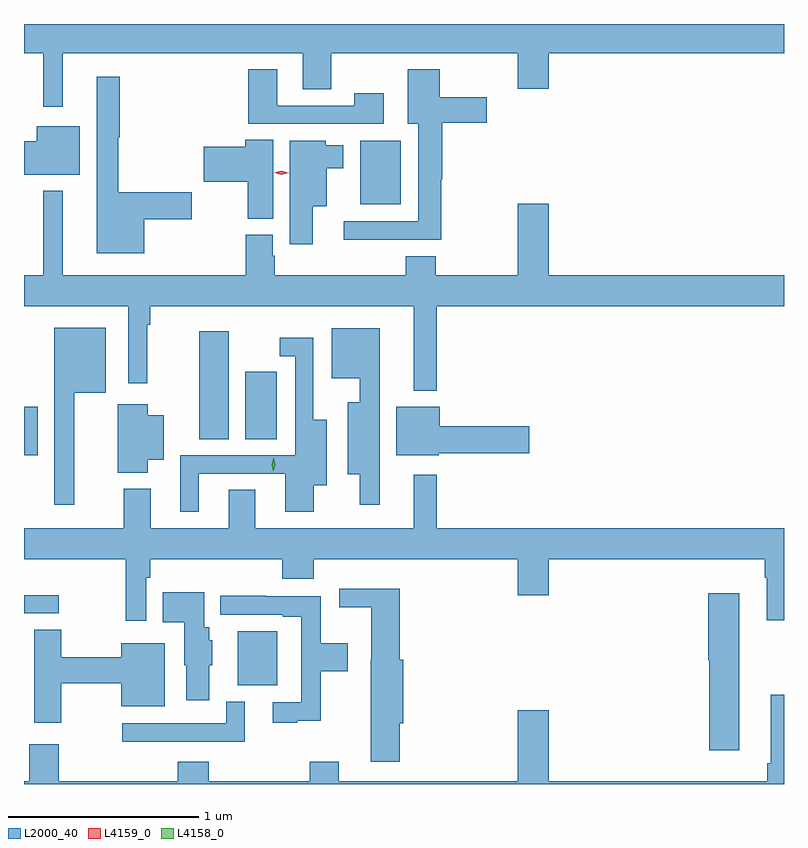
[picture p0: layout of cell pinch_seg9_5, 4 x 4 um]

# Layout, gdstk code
import gdstk
lib = gdstk.Library(unit=1e-6, precision=1e-09)
def R(c, l, rs):  # rectangles x0, y0, x1, y1
    for r in rs: c.add(gdstk.rectangle(r[:2], r[2:], *l))
def P(c, l, *ps):  # polygons
    for p in ps: c.add(gdstk.Polygon(p, *l))
L2000_40 = (2000, 40)
L4158_0 = (4158, 0)
L4159_0 = (4159, 0)

pinch_seg9_5 = lib.new_cell('pinch_seg9_5')
R(pinch_seg9_5, L2000_40, [(1050.647,1231.721,1050.853,1232.005), (1049.521,1232.1,1049.704,1232.196), (1049.521,1232.933,1049.593,1233.187), (1050.443,1233.016,1050.598,1233.586), (1050.686,1233.016,1050.85,1233.373), (1051.292,1234.253,1051.504,1234.588)])
P(pinch_seg9_5, L2000_40, [(1049.725,1235.048),(1050.989,1235.048),(1050.989,1234.858),(1051.137,1234.858),(1051.137,1235.048),(1052.12,1235.048),(1052.12,1234.86),(1052.284,1234.86),(1052.284,1235.048),(1053.521,1235.048),(1053.521,1235.202),(1049.521,1235.202),(1049.521,1235.048),(1049.621,1235.048),(1049.621,1234.767),(1049.725,1234.767)],
  [(1051.414,1234.837),(1051.258,1234.837),(1051.258,1234.773),(1050.853,1234.773),(1050.853,1234.963),(1050.701,1234.963),(1050.701,1234.677),(1051.414,1234.677)],
  [(1051.716,1234.385),(1051.721,1234.385),(1051.721,1234.682),(1051.957,1234.682),(1051.957,1234.816),(1051.708,1234.816),(1051.708,1234.963),(1051.541,1234.963),(1051.541,1234.676),(1051.595,1234.676),(1051.595,1234.164),(1051.203,1234.164),(1051.203,1234.067),(1051.716,1234.067)],
  [(1050.154,1234.174),(1050.403,1234.174),(1050.403,1234.316),(1050.017,1234.316),(1050.017,1234.605),(1050.025,1234.605),(1050.025,1234.924),(1049.903,1234.924),(1049.903,1233.995),(1050.154,1233.995)],
  [(1049.815,1234.663),(1049.588,1234.663),(1049.588,1234.585),(1049.521,1234.585),(1049.521,1234.409),(1049.815,1234.409)],
  [(1050.832,1234.592),(1050.686,1234.592),(1050.686,1234.556),(1050.468,1234.556),(1050.468,1234.373),(1050.698,1234.373),(1050.698,1234.177),(1050.832,1234.177)],
  [(1051.042,1234.244),(1051.114,1234.244),(1051.114,1234.442),(1051.201,1234.442),(1051.201,1234.564),(1051.11,1234.564),(1051.11,1234.588),(1050.92,1234.588),(1050.92,1234.044),(1051.042,1234.044)],
  [(1051.693,1233.716),(1053.521,1233.716),(1053.521,1233.88),(1052.284,1233.88),(1052.284,1234.255),(1052.12,1234.255),(1052.12,1233.88),(1051.689,1233.88),(1051.689,1233.979),(1051.529,1233.979),(1051.529,1233.88),(1050.842,1233.88),(1050.842,1233.981),(1050.829,1233.981),(1050.829,1234.092),(1050.689,1234.092),(1050.689,1233.88),(1049.725,1233.88),(1049.725,1234.324),(1049.621,1234.324),(1049.621,1233.88),(1049.521,1233.88),(1049.521,1233.716),(1050.069,1233.716),(1050.069,1233.312),(1050.17,1233.312),(1050.17,1233.62),(1050.185,1233.62),(1050.185,1233.716),(1051.571,1233.716),(1051.571,1233.272),(1051.693,1233.272)],
  [(1049.785,1233.26),(1049.95,1233.26),(1049.95,1233.604),(1049.681,1233.604),(1049.681,1232.673),(1049.785,1232.673)],
  [(1051.393,1233.601),(1051.142,1233.601),(1051.142,1233.338),(1051.289,1233.338),(1051.289,1233.211),(1051.226,1233.211),(1051.226,1232.831),(1051.289,1232.831),(1051.289,1232.673),(1051.393,1232.673)],
  [(1050.442,1232.835),(1050.896,1232.835),(1050.896,1232.634),(1051.045,1232.634),(1051.045,1232.774),(1051.114,1232.774),(1051.114,1233.118),(1051.044,1233.118),(1051.044,1233.55),(1050.867,1233.55),(1050.867,1233.453),(1050.948,1233.453),(1050.948,1232.931),(1050.344,1232.931),(1050.344,1232.634),(1050.442,1232.634)],
  [(1050.172,1232.909),(1050.256,1232.909),(1050.256,1233.142),(1050.172,1233.142),(1050.172,1233.202),(1050.014,1233.202),(1050.014,1232.841),(1050.172,1232.841)],
  [(1051.704,1232.944),(1052.179,1232.944),(1052.179,1233.086),(1051.708,1233.086),(1051.708,1233.187),(1051.481,1233.187),(1051.481,1232.933),(1051.704,1232.933)],
  [(1050.165,1232.288),(1050.185,1232.288),(1050.185,1232.384),(1050.881,1232.384),(1050.881,1232.282),(1051.046,1232.282),(1051.046,1232.384),(1052.12,1232.384),(1052.12,1232.196),(1052.284,1232.196),(1052.284,1232.384),(1053.419,1232.384),(1053.419,1232.288),(1053.431,1232.288),(1053.431,1232.064),(1053.521,1232.064),(1053.521,1232.548),(1051.693,1232.548),(1051.693,1232.83),(1051.571,1232.83),(1051.571,1232.548),(1050.739,1232.548),(1050.739,1232.75),(1050.599,1232.75),(1050.599,1232.548),(1050.187,1232.548),(1050.187,1232.755),(1050.047,1232.755),(1050.047,1232.548),(1049.521,1232.548),(1049.521,1232.384),(1050.057,1232.384),(1050.057,1232.061),(1050.165,1232.061)],
  [(1051.499,1231.521),(1051.517,1231.521),(1051.517,1231.857),(1051.499,1231.857),(1051.499,1232.23),(1051.179,1232.23),(1051.179,1232.132),(1051.349,1232.132),(1051.349,1231.857),(1051.346,1231.857),(1051.346,1231.32),(1051.499,1231.32)],
  [(1050.496,1231.827),(1050.511,1231.827),(1050.511,1231.959),(1050.496,1231.959),(1050.496,1232.028),(1050.469,1232.028),(1050.469,1232.212),(1050.25,1232.212),(1050.25,1232.054),(1050.365,1232.054),(1050.365,1231.827),(1050.374,1231.827),(1050.374,1231.644),(1050.496,1231.644)],
  [(1053.286,1232.206),(1053.122,1232.206),(1053.122,1231.854),(1053.128,1231.854),(1053.128,1231.38),(1053.286,1231.38)],
  [(1050.959,1231.535),(1051.082,1231.535),(1051.082,1231.795),(1051.225,1231.795),(1051.225,1231.942),(1051.082,1231.942),(1051.082,1232.19),(1050.797,1232.19),(1050.797,1232.192),(1050.555,1232.192),(1050.555,1232.094),(1050.884,1232.094),(1050.884,1232.082),(1050.981,1232.082),(1050.981,1231.632),(1050.831,1231.632),(1050.831,1231.524),(1050.959,1231.524)],
  [(1049.718,1231.732),(1050.032,1231.732),(1050.032,1231.61),(1050.262,1231.61),(1050.262,1231.942),(1050.032,1231.942),(1050.032,1231.868),(1049.718,1231.868),(1049.718,1232.015),(1049.576,1232.015),(1049.576,1231.524),(1049.718,1231.524)],
  [(1053.521,1231.672),(1053.452,1231.672),(1053.452,1231.312),(1053.433,1231.312),(1053.433,1231.216),(1052.284,1231.216),(1052.284,1231.591),(1052.12,1231.591),(1052.12,1231.216),(1051.177,1231.216),(1051.177,1231.318),(1051.025,1231.318),(1051.025,1231.216),(1050.494,1231.216),(1050.494,1231.318),(1050.329,1231.318),(1050.329,1231.216),(1049.703,1231.216),(1049.703,1231.411),(1049.548,1231.411),(1049.548,1231.216),(1049.521,1231.216),(1049.521,1231.202),(1053.521,1231.202)],
  [(1050.682,1231.636),(1050.585,1231.636),(1050.585,1231.521),(1050.039,1231.521),(1050.039,1231.425),(1050.682,1231.425)])
P(pinch_seg9_5, L4158_0, [(1050.832,1232.847),(1050.824,1232.883),(1050.835,1232.918),(1050.835,1232.918),(1050.836,1232.918),(1050.844,1232.882),(1050.833,1232.847),(1050.833,1232.847)])
P(pinch_seg9_5, L4159_0, [(1050.876,1234.409),(1050.838,1234.418),(1050.837,1234.419),(1050.838,1234.419),(1050.876,1234.429),(1050.915,1234.419),(1050.915,1234.419),(1050.915,1234.419)])

lib.write_gds('pinch_seg9_5.gds')
